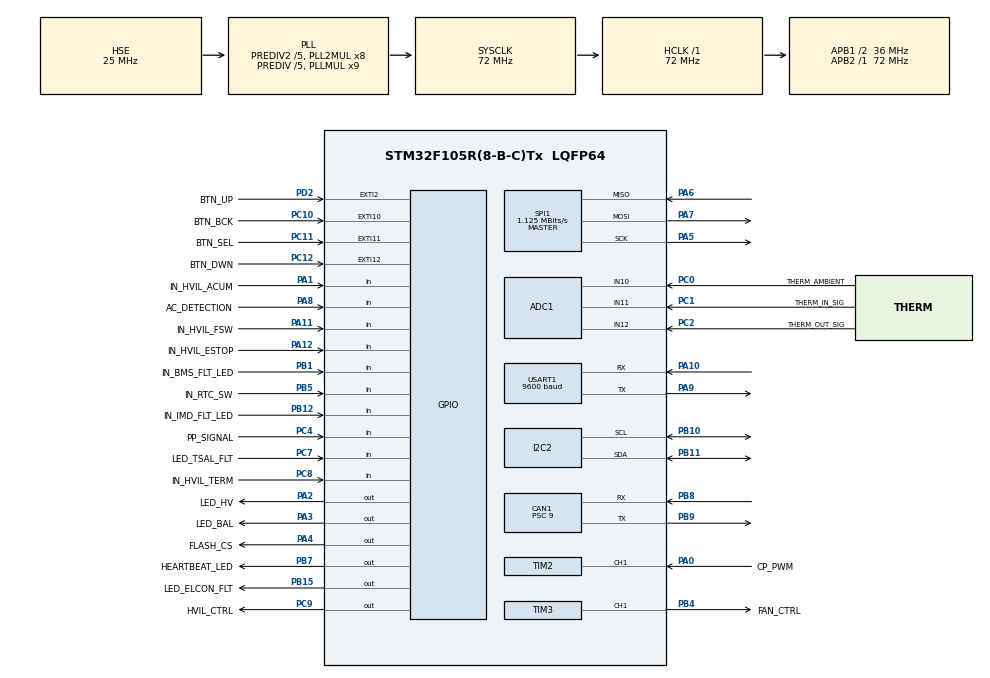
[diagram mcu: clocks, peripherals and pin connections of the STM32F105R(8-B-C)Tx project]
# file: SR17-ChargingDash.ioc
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ADC1.Channel-0\#ChannelRegularConversion=ADC_CHANNEL_11
ADC1.Channel-4\#ChannelRegularConversion=ADC_CHANNEL_12
ADC1.ContinuousConvMode=ENABLE
ADC1.ExternalTrigConv=ADC_EXTERNALTRIGCONV_T3_TRGO
ADC1.NbrOfConversion=2
ADC1.NbrOfConversionFlag=1
ADC1.Rank-0\#ChannelRegularConversion=1
ADC1.Rank-4\#ChannelRegularConversion=2
ADC1.SamplingTime-0\#ChannelRegularConversion=ADC_SAMPLETIME_1CYCLE_5
ADC1.SamplingTime-4\#ChannelRegularConversion=ADC_SAMPLETIME_1CYCLE_5
ADC1.master=1
CAN1.AWUM=DISABLE
CAN1.BS1=CAN_BS1_3TQ
CAN1.BS2=CAN_BS2_4TQ
CAN1.CalculateBaudRate=500000
CAN1.CalculateTimeBit=2000
CAN1.CalculateTimeQuantum=250.0
CAN1.NART=DISABLE
CAN1.Prescaler=9
CAN1.SJW=CAN_SJW_1TQ
Dma.ADC1.0.Direction=DMA_PERIPH_TO_MEMORY
Dma.ADC1.0.Instance=DMA1_Channel1
Dma.ADC1.0.MemDataAlignment=DMA_MDATAALIGN_HALFWORD
Dma.ADC1.0.MemInc=DMA_MINC_ENABLE
Dma.ADC1.0.Mode=DMA_CIRCULAR
Dma.ADC1.0.PeriphDataAlignment=DMA_PDATAALIGN_HALFWORD
Dma.ADC1.0.PeriphInc=DMA_PINC_DISABLE
Dma.ADC1.0.Priority=DMA_PRIORITY_LOW
Dma.Request0=ADC1
I2C2.I2C_Mode=I2C_Standard
Mcu.Family=STM32F1
Mcu.Name=STM32F105R(8-B-C)Tx
Mcu.Package=LQFP64
NVIC.CAN1_RX0_IRQn=true\:0\:0\:false\:false\:true\:true\:true\:true
NVIC.DMA1_Channel1_IRQn=true\:0\:0\:false\:false\:true\:false\:true\:true
NVIC.EXTI15_10_IRQn=true\:0\:0\:false\:false\:true\:true\:true\:true
NVIC.EXTI2_IRQn=true\:0\:0\:false\:false\:true\:true\:true\:true
NVIC.PriorityGroup=NVIC_PRIORITYGROUP_4
NVIC.TIM2_IRQn=true\:0\:0\:false\:false\:true\:true\:true\:true
PA0-WKUP.GPIO_Label=CP_PWM
PA0-WKUP.Signal=S_TIM2_CH1_ETR
PA1.GPIO_Label=IN_HVIL_ACUM
PA1.GPIO_PuPd=GPIO_PULLDOWN
PA1.Signal=GPIO_Input
PA10.Mode=Asynchronous
PA10.Signal=USART1_RX
PA11.GPIO_Label=IN_HVIL_FSW
PA11.Signal=GPIO_Input
PA12.GPIO_Label=IN_HVIL_ESTOP
PA12.Signal=GPIO_Input
PA13.Signal=SYS_JTMS-SWDIO
PA14.Signal=SYS_JTCK-SWCLK
PA15.Signal=SYS_JTDI
PA2.GPIO_Label=LED_HV
PA2.GPIO_PuPd=GPIO_PULLDOWN
PA2.Signal=GPIO_Output
PA3.GPIO_Label=LED_BAL
PA3.GPIO_PuPd=GPIO_PULLDOWN
PA3.Signal=GPIO_Output
PA4.GPIO_Label=FLASH_CS
PA4.Signal=GPIO_Output
PA5.Mode=Full_Duplex_Master
PA5.Signal=SPI1_SCK
PA6.Mode=Full_Duplex_Master
PA6.Signal=SPI1_MISO
PA7.Mode=Full_Duplex_Master
PA7.Signal=SPI1_MOSI
PA8.GPIO_Label=AC_DETECTION
PA8.Signal=GPIO_Input
PA9.Mode=Asynchronous
PA9.Signal=USART1_TX
PB0.GPIO_Label=SHUNT_SIG
PB0.Signal=ADCx_IN8
PB1.GPIO_Label=IN_BMS_FLT_LED
PB1.GPIO_PuPd=GPIO_PULLUP
PB1.Signal=GPIO_Input
PB10.Mode=I2C
PB10.Signal=I2C2_SCL
PB11.Mode=I2C
PB11.Signal=I2C2_SDA
PB12.GPIO_Label=IN_IMD_FLT_LED
PB12.GPIO_PuPd=GPIO_PULLUP
PB12.Signal=GPIO_Input
PB15.GPIO_Label=LED_ELCON_FLT
PB15.GPIO_PuPd=GPIO_PULLDOWN
PB15.Signal=GPIO_Output
PB3.Signal=SYS_JTDO
PB4.GPIO_Label=FAN_CTRL
PB4.Signal=S_TIM3_CH1
PB5.GPIO_Label=IN_RTC_SW
PB5.GPIO_PuPd=GPIO_PULLUP
PB5.Signal=GPIO_Input
PB7.GPIO_Label=HEARTBEAT_LED
PB7.Signal=GPIO_Output
PB8.GPIO_PuPd=GPIO_NOPULL
PB8.Mode=CAN_Activate
PB8.Signal=CAN1_RX
PB9.Mode=CAN_Activate
PB9.Signal=CAN1_TX
PC0.GPIO_Label=THERM_AMBIENT
PC0.Signal=ADCx_IN10
PC1.GPIO_Label=THERM_IN_SIG
PC1.Signal=ADCx_IN11
PC10.GPIO_Label=BTN_BCK
PC10.GPIO_ModeDefaultEXTI=GPIO_MODE_IT_FALLING
PC10.GPIO_PuPd=GPIO_PULLUP
PC10.Signal=GPXTI10
PC11.GPIO_Label=BTN_SEL
PC11.GPIO_ModeDefaultEXTI=GPIO_MODE_IT_FALLING
PC11.GPIO_PuPd=GPIO_PULLUP
PC11.Signal=GPXTI11
PC12.GPIO_Label=BTN_DWN
PC12.GPIO_ModeDefaultEXTI=GPIO_MODE_IT_FALLING
PC12.GPIO_PuPd=GPIO_PULLUP
PC12.Signal=GPXTI12
PC2.GPIO_Label=THERM_OUT_SIG
PC2.Signal=ADCx_IN12
PC4.GPIO_Label=PP_SIGNAL
PC4.Signal=GPIO_Input
PC7.GPIO_Label=LED_TSAL_FLT
PC7.Signal=GPIO_Input
PC8.GPIO_Label=IN_HVIL_TERM
PC8.GPIO_PuPd=GPIO_PULLDOWN
PC8.Signal=GPIO_Input
PC9.GPIO_Label=HVIL_CTRL
PC9.GPIO_PuPd=GPIO_PULLDOWN
PC9.PinState=GPIO_PIN_SET
PC9.Signal=GPIO_Output
PD0-OSC_IN.Mode=HSE-External-Oscillator
PD0-OSC_IN.Signal=RCC_OSC_IN
PD1-OSC_OUT.Mode=HSE-External-Oscillator
PD1-OSC_OUT.Signal=RCC_OSC_OUT
PD2.GPIO_Label=BTN_UP
PD2.GPIO_ModeDefaultEXTI=GPIO_MODE_IT_FALLING
PD2.GPIO_PuPd=GPIO_PULLUP
PD2.Signal=GPXTI2
ProjectManager.HeapSize=0x200
ProjectManager.StackSize=0x400
ProjectManager.TargetToolchain=STM32CubeIDE
RCC.ADCPresc=RCC_ADCPCLK2_DIV6
RCC.AHBFreq_Value=72000000
RCC.APB1CLKDivider=RCC_HCLK_DIV2
RCC.APB1Freq_Value=36000000
RCC.APB1TimFreq_Value=72000000
RCC.APB2Freq_Value=72000000
RCC.APB2TimFreq_Value=72000000
RCC.HCLKFreq_Value=72000000
RCC.HSEDivPLL=RCC_HSE_PREDIV_DIV5
RCC.HSE_VALUE=25000000
RCC.PLLMUL=RCC_PLL_MUL9
RCC.PLLSourceVirtual=RCC_PLLSOURCE_HSE
RCC.Prediv1Source=RCC_PREDIV1_SOURCE_PLL2
RCC.Prediv2=RCC_HSE_PREDIV2_DIV5
RCC.SYSCLKFreq_VALUE=72000000
RCC.SYSCLKSource=RCC_SYSCLKSOURCE_PLLCLK
RCC.USBFreq_Value=48000000
SH.ADCx_IN10.0=ADC1_IN10,IN10
SH.ADCx_IN11.0=ADC1_IN11,IN11
SH.ADCx_IN12.0=ADC1_IN12,IN12
SH.ADCx_IN8.0=ADC1_IN8
SH.S_TIM2_CH1_ETR.0=TIM2_CH1,PWM_Input_1
SH.S_TIM3_CH1.0=TIM3_CH1,PWM Generation1 CH1
SPI1.BaudRatePrescaler=SPI_BAUDRATEPRESCALER_64
SPI1.CalculateBaudRate=1.125 MBits/s
SPI1.Direction=SPI_DIRECTION_2LINES
SPI1.Mode=SPI_MODE_MASTER
SPI1.VirtualType=VM_MASTER
TIM2.AutoReloadPreload=TIM_AUTORELOAD_PRELOAD_DISABLE
TIM2.Period=65535
TIM2.Prescaler=0
TIM3.AutoReloadPreload=TIM_AUTORELOAD_PRELOAD_ENABLE
TIM3.Channel-PWM\ Generation1\ CH1=TIM_CHANNEL_1
TIM3.Period=100-1
TIM3.Prescaler=72-1
USART1.BaudRate=9600
USART1.VirtualMode=VM_ASYNC
VP_CRC_VS_CRC.Mode=CRC_Activate
VP_SYS_VS_ND.Mode=No_Debug
VP_TIM2_VS_ClockSourceINT.Mode=Internal
VP_TIM3_VS_ClockSourceINT.Mode=Internal
board=custom

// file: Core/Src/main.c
/* USER CODE BEGIN Header */
// Written by Ayman Alamayri in Dec 2024
/**
 ******************************************************************************
 * @file           : main.c
 * @brief          : Main program body
 ******************************************************************************
 * @attention
 *
 * Copyright (c) 2024 STMicroelectronics.
 * All rights reserved.
 *
 * This software is licensed under terms that can be found in the LICENSE file
 * in the root directory of this software component.
 * If no LICENSE file comes with this software, it is provided AS-IS.
 *
 ******************************************************************************
 */
/* USER CODE END Header */
#include "main.h"

/* USER CODE BEGIN Includes */
#include <math.h>
#include <stdbool.h>
#include "can_interface.h"
#include "cooling.h"
#include "charger.h"
#include "charging_profile.h"
#include "display.h"
#include "eeprom.h"
#include "j1772.h"
#include "stm32f1xx_hal_tim.h"

/* USER CODE END Includes */

/* USER CODE BEGIN PD */

// TODO: move stuff here

/* USER CODE END PD */

ADC_HandleTypeDef hadc1;
DMA_HandleTypeDef hdma_adc1;

CAN_HandleTypeDef hcan1;

CRC_HandleTypeDef hcrc;

I2C_HandleTypeDef hi2c2;

SPI_HandleTypeDef hspi1;

TIM_HandleTypeDef htim2;
TIM_HandleTypeDef htim3;

UART_HandleTypeDef huart1;

/* USER CODE BEGIN PV */

uint16_t THERM_RESIST = 12000;
uint16_t *therm_inlet = NULL;
uint16_t *therm_outlet = NULL;

float AMPS_AT_LOWER_MAX_CELL_CV_THRESH = 0;

char codeBranch[6] = "Beta";
char codeVersion[5] = "0.3.X";

/* USER CODE END PV */

void SystemClock_Config(void);
static void MX_GPIO_Init(void);
static void MX_DMA_Init(void);
static void MX_CAN1_Init(void);
void MX_I2C2_Init(void);
static void MX_USART1_UART_Init(void);
static void MX_TIM3_Init(void);
static void MX_ADC1_Init(void);
static void MX_TIM2_Init(void);
static void MX_SPI1_Init(void);
static void MX_CRC_Init(void);
/* USER CODE BEGIN PFP */

// PRINTF SUPPORT VIA UART - BEGIN
#ifdef __GNUC__
#define PUTCHAR_PROTOTYPE int __io_putchar(int ch)
#else
#define PUTCHAR_PROTOTYPE int fputc(int ch, FILE *f)
#endif

PUTCHAR_PROTOTYPE
{
	HAL_UART_Transmit(&huart1, (uint8_t *)&ch, 1, HAL_MAX_DELAY);
	return ch;
}
// PRINTF SUPPORT VIA UART - END

/* USER CODE END PFP */

/* USER CODE BEGIN 0 */

// TODO: fix
// READ THERMISTOR VALUE

// TODO: complete
// SEND i2c to Atiny for SOC
void NEOPIX_CTRL(int SOC)
{
}

// TODO: complete
// READ CONTROL PILOT FOR CURRENT LIMIT
float READ_CPILOT_CURRENT()
{
	return 0.0;
}

/* USER CODE END 0 */

int main(void)
{

  /* MCU Configuration--------------------------------------------------------*/

  /* Reset of all peripherals, Initializes the Flash interface and the Systick. */
  HAL_Init();

  /* Configure the system clock */
  SystemClock_Config();

  /* Initialize all configured peripherals */
  MX_GPIO_Init();
  MX_DMA_Init();
  MX_CAN1_Init();
  MX_I2C2_Init();
  MX_USART1_UART_Init();
  MX_TIM3_Init();
  MX_ADC1_Init();
  MX_TIM2_Init();
  MX_SPI1_Init();
  MX_CRC_Init();
  /* USER CODE BEGIN 2 */

	// INIT DISPLAY
	Display_init();

	// INIT CHARGING CAN STRUCT
	CANMessage charging_msg;
	CAN_SettingsInit(&charging_msg, true, 8);

	// INIT BALANCING CAN STRUCT
	CANMessage balancing_msg;
	CAN_SettingsInit(&balancing_msg, false, 1);

  CANMessage precharge_msg;
  CAN_SettingsInit(&precharge_msg, false, 1);

	// INIT PWM
	HAL_TIM_PWM_Start(&htim3, TIM_CHANNEL_1);

	// INIT ADC
	uint16_t adc_buffer[2];
	HAL_TIM_Base_Start(&htim3);
	HAL_ADC_Start_DMA(&hadc1, (uint32_t *)adc_buffer, 2);

	J1772_init();
	HAL_Delay(1000);
	therm_inlet = &adc_buffer[0];
	therm_outlet = &adc_buffer[1];

	// ChargingProfile_deleteAllProfiles();
	ChargingProfile_getStoredProfiles();

	//Cooling_commandFanSpeed(50);
	// TODO: better init for GUI
	// TEMP STUFF 1 END
  /* USER CODE END 2 */

  /* Infinite loop */
  /* USER CODE BEGIN WHILE */
	while (1)
	{

		//  float voltage = 0.1f;
		//  float amp = 0.5f;
		//  CAN_Charge(&charging_msg, voltage, amp, true);
		//  HAL_Delay(1000);

		// ChargingProfile_testEEPROM();

		// Charger_printBmsAndElconData(&currentBmsAndElconData);
		//Charger_printPinStates();
		Display_updateState();
		// DEBUG_PRINT("OUTLET MAX AMPS: %f\n", J1772_getMaxCurrent());
		// DEBUG_PRINT("OUTLET PLUG DETECTED: %d\n", J1772_isPlugConnected());
		Charger_handleCharging(&charging_msg, &balancing_msg, &precharge_msg);
		if (currentChargerState == CHARGER_STATE_CHARGING || currentChargerState == CHARGER_STATE_BALANCING) {
			Cooling_commandFanSpeed(80);
		}
		else {
			Cooling_commandFanSpeed(0);
		}
		DEBUG_PRINT("COMMANDED V: %d, COMMANDED A: %d\n", (int16_t)LIMIT_VOLTS, (int16_t)LIMIT_AMPS);
		// DEBUG_PRINT("test");
		HAL_GPIO_TogglePin(HEARTBEAT_LED_GPIO_Port, HEARTBEAT_LED_Pin);
    /* USER CODE END WHILE */

	}
}

void SystemClock_Config(void)
{
  RCC_OscInitTypeDef RCC_OscInitStruct = {0};
  RCC_ClkInitTypeDef RCC_ClkInitStruct = {0};
  RCC_PeriphCLKInitTypeDef PeriphClkInit = {0};

  /** Initializes the RCC Oscillators according to the specified parameters
  * in the RCC_OscInitTypeDef structure.
  */
  RCC_OscInitStruct.OscillatorType = RCC_OSCILLATORTYPE_HSE;
  RCC_OscInitStruct.HSEState = RCC_HSE_ON;
  RCC_OscInitStruct.HSEPredivValue = RCC_HSE_PREDIV_DIV5;
  RCC_OscInitStruct.HSIState = RCC_HSI_ON;
  RCC_OscInitStruct.Prediv1Source = RCC_PREDIV1_SOURCE_PLL2;
  RCC_OscInitStruct.PLL.PLLState = RCC_PLL_ON;
  RCC_OscInitStruct.PLL.PLLSource = RCC_PLLSOURCE_HSE;
  RCC_OscInitStruct.PLL.PLLMUL = RCC_PLL_MUL9;
  RCC_OscInitStruct.PLL2.PLL2State = RCC_PLL2_ON;
  RCC_OscInitStruct.PLL2.PLL2MUL = RCC_PLL2_MUL8;
  RCC_OscInitStruct.PLL2.HSEPrediv2Value = RCC_HSE_PREDIV2_DIV5;
  if (HAL_RCC_OscConfig(&RCC_OscInitStruct) != HAL_OK)
  {
    Error_Handler();
  }

  /** Initializes the CPU, AHB and APB buses clocks
  */
  RCC_ClkInitStruct.ClockType = RCC_CLOCKTYPE_HCLK|RCC_CLOCKTYPE_SYSCLK
                              |RCC_CLOCKTYPE_PCLK1|RCC_CLOCKTYPE_PCLK2;
  RCC_ClkInitStruct.SYSCLKSource = RCC_SYSCLKSOURCE_PLLCLK;
  RCC_ClkInitStruct.AHBCLKDivider = RCC_SYSCLK_DIV1;
  RCC_ClkInitStruct.APB1CLKDivider = RCC_HCLK_DIV2;
  RCC_ClkInitStruct.APB2CLKDivider = RCC_HCLK_DIV1;

  if (HAL_RCC_ClockConfig(&RCC_ClkInitStruct, FLASH_LATENCY_2) != HAL_OK)
  {
    Error_Handler();
  }
  PeriphClkInit.PeriphClockSelection = RCC_PERIPHCLK_ADC;
  PeriphClkInit.AdcClockSelection = RCC_ADCPCLK2_DIV6;
  if (HAL_RCCEx_PeriphCLKConfig(&PeriphClkInit) != HAL_OK)
  {
    Error_Handler();
  }

  /** Configure the Systick interrupt time
  */
  __HAL_RCC_PLLI2S_ENABLE();
}

static void MX_ADC1_Init(void)
{

  ADC_ChannelConfTypeDef sConfig = {0};

  /** Common config
  */
  hadc1.Instance = ADC1;
  hadc1.Init.ScanConvMode = ADC_SCAN_ENABLE;
  hadc1.Init.ContinuousConvMode = ENABLE;
  hadc1.Init.DiscontinuousConvMode = DISABLE;
  hadc1.Init.ExternalTrigConv = ADC_EXTERNALTRIGCONV_T3_TRGO;
  hadc1.Init.DataAlign = ADC_DATAALIGN_RIGHT;
  hadc1.Init.NbrOfConversion = 2;
  if (HAL_ADC_Init(&hadc1) != HAL_OK)
  {
    Error_Handler();
  }

  /** Configure Regular Channel
  */
  sConfig.Channel = ADC_CHANNEL_11;
  sConfig.Rank = ADC_REGULAR_RANK_1;
  sConfig.SamplingTime = ADC_SAMPLETIME_1CYCLE_5;
  if (HAL_ADC_ConfigChannel(&hadc1, &sConfig) != HAL_OK)
  {
    Error_Handler();
  }

  /** Configure Regular Channel
  */
  sConfig.Channel = ADC_CHANNEL_12;
  sConfig.Rank = ADC_REGULAR_RANK_2;
  if (HAL_ADC_ConfigChannel(&hadc1, &sConfig) != HAL_OK)
  {
    Error_Handler();
  }

}

static void MX_CAN1_Init(void)
{

  hcan1.Instance = CAN1;
  hcan1.Init.Prescaler = 9;
  hcan1.Init.Mode = CAN_MODE_NORMAL;
  hcan1.Init.SyncJumpWidth = CAN_SJW_1TQ;
  hcan1.Init.TimeSeg1 = CAN_BS1_3TQ;
  hcan1.Init.TimeSeg2 = CAN_BS2_4TQ;
  hcan1.Init.TimeTriggeredMode = DISABLE;
  hcan1.Init.AutoBusOff = DISABLE;
  hcan1.Init.AutoWakeUp = DISABLE;
  hcan1.Init.AutoRetransmission = DISABLE;
  hcan1.Init.ReceiveFifoLocked = DISABLE;
  hcan1.Init.TransmitFifoPriority = DISABLE;
  if (HAL_CAN_Init(&hcan1) != HAL_OK)
  {
    Error_Handler();
  }

}

static void MX_CRC_Init(void)
{

  hcrc.Instance = CRC;
  if (HAL_CRC_Init(&hcrc) != HAL_OK)
  {
    Error_Handler();
  }

}

void MX_I2C2_Init(void)
{

  hi2c2.Instance = I2C2;
  hi2c2.Init.ClockSpeed = 100000;
  hi2c2.Init.DutyCycle = I2C_DUTYCYCLE_2;
  hi2c2.Init.OwnAddress1 = 0;
  hi2c2.Init.AddressingMode = I2C_ADDRESSINGMODE_7BIT;
  hi2c2.Init.DualAddressMode = I2C_DUALADDRESS_DISABLE;
  hi2c2.Init.OwnAddress2 = 0;
  hi2c2.Init.GeneralCallMode = I2C_GENERALCALL_DISABLE;
  hi2c2.Init.NoStretchMode = I2C_NOSTRETCH_DISABLE;
  if (HAL_I2C_Init(&hi2c2) != HAL_OK)
  {
    Error_Handler();
  }

}

static void MX_SPI1_Init(void)
{

  /* SPI1 parameter configuration*/
  hspi1.Instance = SPI1;
  hspi1.Init.Mode = SPI_MODE_MASTER;
  hspi1.Init.Direction = SPI_DIRECTION_2LINES;
  hspi1.Init.DataSize = SPI_DATASIZE_8BIT;
  hspi1.Init.CLKPolarity = SPI_POLARITY_LOW;
  hspi1.Init.CLKPhase = SPI_PHASE_1EDGE;
  hspi1.Init.NSS = SPI_NSS_SOFT;
  hspi1.Init.BaudRatePrescaler = SPI_BAUDRATEPRESCALER_64;
  hspi1.Init.FirstBit = SPI_FIRSTBIT_MSB;
  hspi1.Init.TIMode = SPI_TIMODE_DISABLE;
  hspi1.Init.CRCCalculation = SPI_CRCCALCULATION_DISABLE;
  hspi1.Init.CRCPolynomial = 10;
  if (HAL_SPI_Init(&hspi1) != HAL_OK)
  {
    Error_Handler();
  }

}

static void MX_TIM2_Init(void)
{

  TIM_ClockConfigTypeDef sClockSourceConfig = {0};
  TIM_SlaveConfigTypeDef sSlaveConfig = {0};
  TIM_IC_InitTypeDef sConfigIC = {0};
  TIM_MasterConfigTypeDef sMasterConfig = {0};

  htim2.Instance = TIM2;
  htim2.Init.Prescaler = 0;
  htim2.Init.CounterMode = TIM_COUNTERMODE_UP;
  htim2.Init.Period = 65535;
  htim2.Init.ClockDivision = TIM_CLOCKDIVISION_DIV1;
  htim2.Init.AutoReloadPreload = TIM_AUTORELOAD_PRELOAD_DISABLE;
  if (HAL_TIM_Base_Init(&htim2) != HAL_OK)
  {
    Error_Handler();
  }
  sClockSourceConfig.ClockSource = TIM_CLOCKSOURCE_INTERNAL;
  if (HAL_TIM_ConfigClockSource(&htim2, &sClockSourceConfig) != HAL_OK)
  {
    Error_Handler();
  }
  if (HAL_TIM_IC_Init(&htim2) != HAL_OK)
  {
    Error_Handler();
  }
  sSlaveConfig.SlaveMode = TIM_SLAVEMODE_RESET;
  sSlaveConfig.InputTrigger = TIM_TS_TI1FP1;
  sSlaveConfig.TriggerPolarity = TIM_INPUTCHANNELPOLARITY_RISING;
  sSlaveConfig.TriggerPrescaler = TIM_ICPSC_DIV1;
  sSlaveConfig.TriggerFilter = 0;
  if (HAL_TIM_SlaveConfigSynchro(&htim2, &sSlaveConfig) != HAL_OK)
  {
    Error_Handler();
  }
  sConfigIC.ICPolarity = TIM_INPUTCHANNELPOLARITY_RISING;
  sConfigIC.ICSelection = TIM_ICSELECTION_DIRECTTI;
  sConfigIC.ICPrescaler = TIM_ICPSC_DIV1;
  sConfigIC.ICFilter = 0;
  if (HAL_TIM_IC_ConfigChannel(&htim2, &sConfigIC, TIM_CHANNEL_1) != HAL_OK)
  {
    Error_Handler();
  }
  sConfigIC.ICPolarity = TIM_INPUTCHANNELPOLARITY_FALLING;
  sConfigIC.ICSelection = TIM_ICSELECTION_INDIRECTTI;
  if (HAL_TIM_IC_ConfigChannel(&htim2, &sConfigIC, TIM_CHANNEL_2) != HAL_OK)
  {
    Error_Handler();
  }
  sMasterConfig.MasterOutputTrigger = TIM_TRGO_RESET;
  sMasterConfig.MasterSlaveMode = TIM_MASTERSLAVEMODE_DISABLE;
  if (HAL_TIMEx_MasterConfigSynchronization(&htim2, &sMasterConfig) != HAL_OK)
  {
    Error_Handler();
  }

}

static void MX_TIM3_Init(void)
{

  TIM_ClockConfigTypeDef sClockSourceConfig = {0};
  TIM_MasterConfigTypeDef sMasterConfig = {0};
  TIM_OC_InitTypeDef sConfigOC = {0};

  htim3.Instance = TIM3;
  htim3.Init.Prescaler = 72-1;
  htim3.Init.CounterMode = TIM_COUNTERMODE_UP;
  htim3.Init.Period = 100-1;
  htim3.Init.ClockDivision = TIM_CLOCKDIVISION_DIV1;
  htim3.Init.AutoReloadPreload = TIM_AUTORELOAD_PRELOAD_ENABLE;
  if (HAL_TIM_Base_Init(&htim3) != HAL_OK)
  {
    Error_Handler();
  }
  sClockSourceConfig.ClockSource = TIM_CLOCKSOURCE_INTERNAL;
  if (HAL_TIM_ConfigClockSource(&htim3, &sClockSourceConfig) != HAL_OK)
  {
    Error_Handler();
  }
  if (HAL_TIM_PWM_Init(&htim3) != HAL_OK)
  {
    Error_Handler();
  }
  sMasterConfig.MasterOutputTrigger = TIM_TRGO_RESET;
  sMasterConfig.MasterSlaveMode = TIM_MASTERSLAVEMODE_DISABLE;
  if (HAL_TIMEx_MasterConfigSynchronization(&htim3, &sMasterConfig) != HAL_OK)
  {
    Error_Handler();
  }
  sConfigOC.OCMode = TIM_OCMODE_PWM1;
  sConfigOC.Pulse = 0;
  sConfigOC.OCPolarity = TIM_OCPOLARITY_HIGH;
  sConfigOC.OCFastMode = TIM_OCFAST_DISABLE;
  if (HAL_TIM_PWM_ConfigChannel(&htim3, &sConfigOC, TIM_CHANNEL_1) != HAL_OK)
  {
    Error_Handler();
  }
  HAL_TIM_MspPostInit(&htim3);

}

static void MX_USART1_UART_Init(void)
{

  huart1.Instance = USART1;
  huart1.Init.BaudRate = 9600;
  huart1.Init.WordLength = UART_WORDLENGTH_8B;
  huart1.Init.StopBits = UART_STOPBITS_1;
  huart1.Init.Parity = UART_PARITY_NONE;
  huart1.Init.Mode = UART_MODE_TX_RX;
  huart1.Init.HwFlowCtl = UART_HWCONTROL_NONE;
  huart1.Init.OverSampling = UART_OVERSAMPLING_16;
  if (HAL_UART_Init(&huart1) != HAL_OK)
  {
    Error_Handler();
  }

}

static void MX_DMA_Init(void)
{

  /* DMA controller clock enable */
  __HAL_RCC_DMA1_CLK_ENABLE();

  /* DMA interrupt init */
  /* DMA1_Channel1_IRQn interrupt configuration */
  HAL_NVIC_SetPriority(DMA1_Channel1_IRQn, 0, 0);
  HAL_NVIC_EnableIRQ(DMA1_Channel1_IRQn);

}

static void MX_GPIO_Init(void)
{
  GPIO_InitTypeDef GPIO_InitStruct = {0};

  /* GPIO Ports Clock Enable */
  __HAL_RCC_GPIOD_CLK_ENABLE();
  __HAL_RCC_GPIOC_CLK_ENABLE();
  __HAL_RCC_GPIOA_CLK_ENABLE();
  __HAL_RCC_GPIOB_CLK_ENABLE();

  /*Configure GPIO pin Output Level */
  HAL_GPIO_WritePin(GPIOA, LED_HV_Pin|LED_BAL_Pin|FLASH_CS_Pin, GPIO_PIN_RESET);

  /*Configure GPIO pin Output Level */
  HAL_GPIO_WritePin(GPIOB, LED_ELCON_FLT_Pin|HEARTBEAT_LED_Pin, GPIO_PIN_RESET);

  /*Configure GPIO pin Output Level */
  HAL_GPIO_WritePin(HVIL_CTRL_GPIO_Port, HVIL_CTRL_Pin, GPIO_PIN_SET);

  /*Configure GPIO pin : IN_HVIL_ACUM_Pin */
  GPIO_InitStruct.Pin = IN_HVIL_ACUM_Pin;
  GPIO_InitStruct.Mode = GPIO_MODE_INPUT;
  GPIO_InitStruct.Pull = GPIO_PULLDOWN;
  HAL_GPIO_Init(IN_HVIL_ACUM_GPIO_Port, &GPIO_InitStruct);

  /*Configure GPIO pins : LED_HV_Pin LED_BAL_Pin */
  GPIO_InitStruct.Pin = LED_HV_Pin|LED_BAL_Pin;
  GPIO_InitStruct.Mode = GPIO_MODE_OUTPUT_PP;
  GPIO_InitStruct.Pull = GPIO_PULLDOWN;
  GPIO_InitStruct.Speed = GPIO_SPEED_FREQ_LOW;
  HAL_GPIO_Init(GPIOA, &GPIO_InitStruct);

  /*Configure GPIO pin : FLASH_CS_Pin */
  GPIO_InitStruct.Pin = FLASH_CS_Pin;
  GPIO_InitStruct.Mode = GPIO_MODE_OUTPUT_PP;
  GPIO_InitStruct.Pull = GPIO_NOPULL;
  GPIO_InitStruct.Speed = GPIO_SPEED_FREQ_LOW;
  HAL_GPIO_Init(FLASH_CS_GPIO_Port, &GPIO_InitStruct);

  /*Configure GPIO pins : PP_SIGNAL_Pin LED_TSAL_FLT_Pin */
  GPIO_InitStruct.Pin = PP_SIGNAL_Pin|LED_TSAL_FLT_Pin;
  GPIO_InitStruct.Mode = GPIO_MODE_INPUT;
  GPIO_InitStruct.Pull = GPIO_NOPULL;
  HAL_GPIO_Init(GPIOC, &GPIO_InitStruct);

  /*Configure GPIO pins : IN_BMS_FLT_LED_Pin IN_IMD_FLT_LED_Pin IN_RTC_SW_Pin */
  GPIO_InitStruct.Pin = IN_BMS_FLT_LED_Pin|IN_IMD_FLT_LED_Pin|IN_RTC_SW_Pin;
  GPIO_InitStruct.Mode = GPIO_MODE_INPUT;
  GPIO_InitStruct.Pull = GPIO_PULLUP;
  HAL_GPIO_Init(GPIOB, &GPIO_InitStruct);

  /*Configure GPIO pin : LED_ELCON_FLT_Pin */
  GPIO_InitStruct.Pin = LED_ELCON_FLT_Pin;
  GPIO_InitStruct.Mode = GPIO_MODE_OUTPUT_PP;
  GPIO_InitStruct.Pull = GPIO_PULLDOWN;
  GPIO_InitStruct.Speed = GPIO_SPEED_FREQ_LOW;
  HAL_GPIO_Init(LED_ELCON_FLT_GPIO_Port, &GPIO_InitStruct);

  /*Configure GPIO pin : IN_HVIL_TERM_Pin */
  GPIO_InitStruct.Pin = IN_HVIL_TERM_Pin;
  GPIO_InitStruct.Mode = GPIO_MODE_INPUT;
  GPIO_InitStruct.Pull = GPIO_PULLDOWN;
  HAL_GPIO_Init(IN_HVIL_TERM_GPIO_Port, &GPIO_InitStruct);

  /*Configure GPIO pin : HVIL_CTRL_Pin */
  GPIO_InitStruct.Pin = HVIL_CTRL_Pin;
  GPIO_InitStruct.Mode = GPIO_MODE_OUTPUT_PP;
  GPIO_InitStruct.Pull = GPIO_PULLDOWN;
  GPIO_InitStruct.Speed = GPIO_SPEED_FREQ_LOW;
  HAL_GPIO_Init(HVIL_CTRL_GPIO_Port, &GPIO_InitStruct);

  /*Configure GPIO pins : AC_DETECTION_Pin IN_HVIL_FSW_Pin IN_HVIL_ESTOP_Pin */
  GPIO_InitStruct.Pin = AC_DETECTION_Pin|IN_HVIL_FSW_Pin|IN_HVIL_ESTOP_Pin;
  GPIO_InitStruct.Mode = GPIO_MODE_INPUT;
  GPIO_InitStruct.Pull = GPIO_NOPULL;
  HAL_GPIO_Init(GPIOA, &GPIO_InitStruct);

  /*Configure GPIO pins : BTN_BCK_Pin BTN_SEL_Pin BTN_DWN_Pin */
  GPIO_InitStruct.Pin = BTN_BCK_Pin|BTN_SEL_Pin|BTN_DWN_Pin;
  GPIO_InitStruct.Mode = GPIO_MODE_IT_FALLING;
  GPIO_InitStruct.Pull = GPIO_PULLUP;
  HAL_GPIO_Init(GPIOC, &GPIO_InitStruct);

  /*Configure GPIO pin : BTN_UP_Pin */
  GPIO_InitStruct.Pin = BTN_UP_Pin;
  GPIO_InitStruct.Mode = GPIO_MODE_IT_FALLING;
  GPIO_InitStruct.Pull = GPIO_PULLUP;
  HAL_GPIO_Init(BTN_UP_GPIO_Port, &GPIO_InitStruct);

  /*Configure GPIO pin : HEARTBEAT_LED_Pin */
  GPIO_InitStruct.Pin = HEARTBEAT_LED_Pin;
  GPIO_InitStruct.Mode = GPIO_MODE_OUTPUT_PP;
  GPIO_InitStruct.Pull = GPIO_NOPULL;
  GPIO_InitStruct.Speed = GPIO_SPEED_FREQ_LOW;
  HAL_GPIO_Init(HEARTBEAT_LED_GPIO_Port, &GPIO_InitStruct);

  /* EXTI interrupt init*/
  HAL_NVIC_SetPriority(EXTI2_IRQn, 0, 0);
  HAL_NVIC_EnableIRQ(EXTI2_IRQn);

  HAL_NVIC_SetPriority(EXTI15_10_IRQn, 0, 0);
  HAL_NVIC_EnableIRQ(EXTI15_10_IRQn);

}

void Error_Handler(void)
{
	__disable_irq();
	while (1)
	{
	}
}
